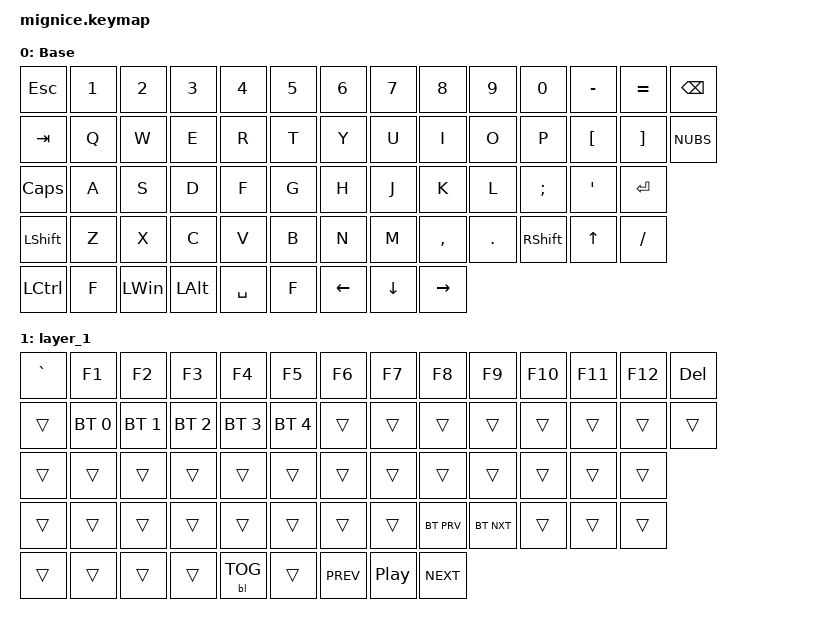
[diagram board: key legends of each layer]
#include <behaviors.dtsi>
#include <dt-bindings/zmk/backlight.h>
#include <dt-bindings/zmk/bt.h>
#include <dt-bindings/zmk/keys.h>

/ {
    keymap {
        compatible = "zmk,keymap";

        layer_0 {
            label = "Base";
            bindings = <
&kp ESC    &kp N1  &kp N2    &kp N3    &kp N4     &kp N5  &kp N6    &kp N7    &kp N8     &kp N9   &kp N0     &kp MINUS  &kp EQUAL  &kp BSPC
&kp TAB    &kp Q   &kp W     &kp E     &kp R      &kp T   &kp Y     &kp U     &kp I      &kp O    &kp P      &kp LBKT   &kp RBKT   &kp NUBS
&kp CAPS   &kp A   &kp S     &kp D     &kp F      &kp G   &kp H     &kp J     &kp K      &kp L    &kp SEMI   &kp APOS   &kp ENTER
&kp LSHFT  &kp Z   &kp X     &kp C     &kp V      &kp B   &kp N     &kp M     &kp COMMA  &kp DOT  &kp RSHFT  &kp UP     &kp FSLH
&kp LCTRL  &kp F   &kp LWIN  &kp LALT  &kp SPACE  &kp F   &kp LEFT  &kp DOWN  &kp RIGHT
            >;
        };

        layer_1 {
            bindings = <
&kp GRAVE  &kp F1        &kp F2        &kp F3        &kp F4        &kp F5        &kp F6      &kp F7            &kp F8      &kp F9      &kp F10  &kp F11  &kp F12  &kp DELETE
&trans     &bt BT_SEL 0  &bt BT_SEL 1  &bt BT_SEL 2  &bt BT_SEL 3  &bt BT_SEL 4  &trans      &trans            &trans      &trans      &trans   &trans   &trans   &trans
&trans     &trans        &trans        &trans        &trans        &trans        &trans      &trans            &trans      &trans      &trans   &trans   &trans
&trans     &trans        &trans        &trans        &trans        &trans        &trans      &trans            &bt BT_PRV  &bt BT_NXT  &trans   &trans   &trans
&trans     &trans        &trans        &trans        &bl BL_TOG    &trans        &kp C_PREV  &kp C_PLAY_PAUSE  &kp C_NEXT
            >;
        };
    };
};
